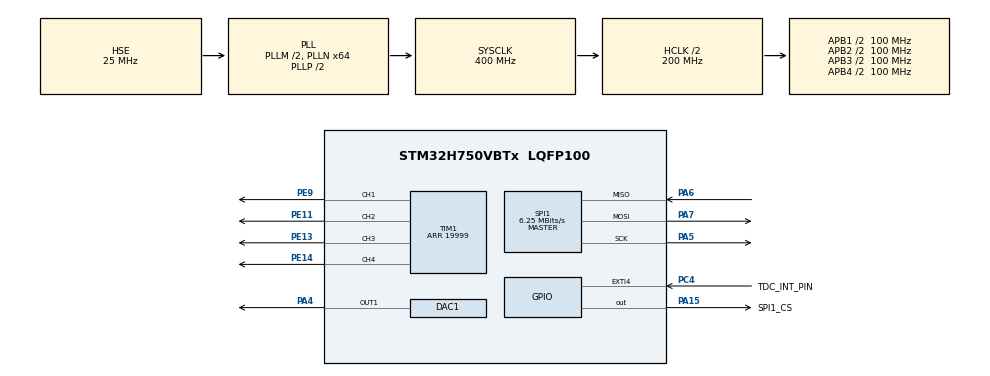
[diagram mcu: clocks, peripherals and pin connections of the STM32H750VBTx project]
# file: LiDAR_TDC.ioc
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DAC1.DAC_Channel-DAC_OUT1=DAC_CHANNEL_1
Mcu.Family=STM32H7
Mcu.Name=STM32H750VBTx
Mcu.Package=LQFP100
NVIC.EXTI4_IRQn=true\:4\:0\:true\:false\:true\:true\:true\:true
NVIC.PriorityGroup=NVIC_PRIORITYGROUP_4
PA13\ (JTMS/SWDIO).Mode=Serial_Wire
PA13\ (JTMS/SWDIO).Signal=DEBUG_JTMS-SWDIO
PA14\ (JTCK/SWCLK).Mode=Serial_Wire
PA14\ (JTCK/SWCLK).Signal=DEBUG_JTCK-SWCLK
PA15\ (JTDI).GPIO_Label=SPI1_CS
PA15\ (JTDI).Signal=GPIO_Output
PA4.Signal=COMP_DAC11_group
PA5.Mode=Full_Duplex_Master
PA5.Signal=SPI1_SCK
PA6.Mode=Full_Duplex_Master
PA6.Signal=SPI1_MISO
PA7.Mode=Full_Duplex_Master
PA7.Signal=SPI1_MOSI
PC4.GPIO_Label=TDC_INT_PIN
PC4.GPIO_ModeDefaultEXTI=GPIO_MODE_IT_FALLING
PC4.GPIO_PuPd=GPIO_PULLUP
PC4.Signal=GPXTI4
PE11.Signal=S_TIM1_CH2
PE13.Signal=S_TIM1_CH3
PE14.Signal=S_TIM1_CH4
PE9.Signal=S_TIM1_CH1
PH0-OSC_IN\ (PH0).Mode=HSE-External-Oscillator
PH0-OSC_IN\ (PH0).Signal=RCC_OSC_IN
PH1-OSC_OUT\ (PH1).Mode=HSE-External-Oscillator
PH1-OSC_OUT\ (PH1).Signal=RCC_OSC_OUT
ProjectManager.HeapSize=0x200
ProjectManager.StackSize=0x400
ProjectManager.TargetToolchain=MDK-ARM V5.32
RCC.ADCFreq_Value=50390625
RCC.APB1Freq_Value=100000000
RCC.APB2Freq_Value=100000000
RCC.APB3Freq_Value=100000000
RCC.APB4Freq_Value=100000000
RCC.CortexFreq_Value=400000000
RCC.D1PPRE=RCC_APB3_DIV2
RCC.D2PPRE1=RCC_APB1_DIV2
RCC.D2PPRE2=RCC_APB2_DIV2
RCC.D3PPRE=RCC_APB4_DIV2
RCC.DIVM1=2
RCC.DIVN1=64
RCC.DIVQ1=4
RCC.HCLKFreq_Value=200000000
RCC.HPRE=RCC_HCLK_DIV2
RCC.PLLFRACN=0
RCC.PLLSourceVirtual=RCC_PLLSOURCE_HSE
RCC.SYSCLKFreq_VALUE=400000000
RCC.SYSCLKSource=RCC_SYSCLKSOURCE_PLLCLK
RCC.USBFreq_Value=200000000
SH.COMP_DAC11_group.0=DAC1_OUT1,DAC_OUT1
SH.S_TIM1_CH1.0=TIM1_CH1,PWM Generation1 CH1
SH.S_TIM1_CH2.0=TIM1_CH2,PWM Generation2 CH2
SH.S_TIM1_CH3.0=TIM1_CH3,PWM Generation3 CH3
SH.S_TIM1_CH4.0=TIM1_CH4,PWM Generation4 CH4
SPI1.BaudRatePrescaler=SPI_BAUDRATEPRESCALER_32
SPI1.CLKPhase=SPI_PHASE_2EDGE
SPI1.CalculateBaudRate=6.25 MBits/s
SPI1.DataSize=SPI_DATASIZE_8BIT
SPI1.Direction=SPI_DIRECTION_2LINES
SPI1.Mode=SPI_MODE_MASTER
SPI1.VirtualType=VM_MASTER
TIM1.Channel-PWM\ Generation1\ CH1=TIM_CHANNEL_1
TIM1.Channel-PWM\ Generation2\ CH2=TIM_CHANNEL_2
TIM1.Channel-PWM\ Generation3\ CH3=TIM_CHANNEL_3
TIM1.Channel-PWM\ Generation4\ CH4=TIM_CHANNEL_4
TIM1.OCPolarity_4=TIM_OCPOLARITY_LOW
TIM1.Period=19999
TIM1.Pulse-PWM\ Generation1\ CH1=10000
TIM1.Pulse-PWM\ Generation2\ CH2=10008
TIM1.Pulse-PWM\ Generation3\ CH3=300
TIM1.Pulse-PWM\ Generation4\ CH4=9990
board=custom

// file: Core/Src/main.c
/* USER CODE BEGIN Header */
/**
  ******************************************************************************
  * @file           : main.c
  * @brief          : Main program body
  ******************************************************************************
  * @attention
  *
  * Copyright (c) 2024 STMicroelectronics.
  * All rights reserved.
  *
  * This software is licensed under terms that can be found in the LICENSE file
  * in the root directory of this software component.
  * If no LICENSE file comes with this software, it is provided AS-IS.
  *
  ******************************************************************************
  */
/* USER CODE END Header */
#include "main.h"
#include "dac.h"
#include "spi.h"
#include "tim.h"
#include "gpio.h"

/* USER CODE BEGIN Includes */
#include "tdc.h"
/* USER CODE END Includes */

void SystemClock_Config(void);

/* USER CODE BEGIN 0 */
uint8_t byte;
uint8_t INTSign = 0 ;
uint8_t  num=0;  //记录中断次数
float  bytes_Up=0.00000f;
uint32_t tempValue;
uint16_t G_tdcStatusRegister = 0;
/* USER CODE END 0 */

int main(void)
{

  /* MCU Configuration--------------------------------------------------------*/

  /* Reset of all peripherals, Initializes the Flash interface and the Systick. */
  HAL_Init();

  /* Configure the system clock */
  SystemClock_Config();

  /* Initialize all configured peripherals */
  MX_GPIO_Init();
  MX_SPI1_Init();
  MX_DAC1_Init();
  MX_TIM1_Init();
  /* USER CODE BEGIN 2 */
	TDC_Init_Reg();
	byte=SPI1_ReadByteFromReg(READ_REG1);//显示寄存器1中的高8位	这个值是0x21的时候，才说明通信成功了成功了

HAL_DAC_Start(&hdac1, DAC_CHANNEL_1);
HAL_DAC_SetValue(&hdac1, DAC_CHANNEL_1, DAC_ALIGN_12B_R, 1.3/3.3*4096);
HAL_Delay(1000);
HAL_TIM_PWM_Start(&htim1, TIM_CHANNEL_1);//LASER_PULSE_ENABLE
HAL_TIM_PWM_Start(&htim1, TIM_CHANNEL_2);//LASER_PULSE
HAL_TIM_PWM_Start(&htim1, TIM_CHANNEL_3);//APD_PWM
HAL_TIM_PWM_Start(&htim1, TIM_CHANNEL_4);//FAKE START信号
  /* USER CODE END 2 */

  /* Infinite loop */
  while (1)
  {

    /* USER CODE BEGIN 3 */
		initMeasureTDCGP22();
		while(INTSign == 0){}
			INTSign = 0;
//		G_tdcStatusRegister=SPI1_Read2ByteFromReg(READ_STAT);		//0xB4
//		if((G_tdcStatusRegister&0x0600) != 0) //0000 0110  0000 0000
//		 {
//	      printf("上游溢出\t\r\n");// 测量溢出
//			 tempValue = 99;//测试语句
//		 }
//		else
//		{
			tempValue = SPI1_ReadWordFromReg(READ_RES0);
			bytes_Up=dotHextoDotDec(tempValue);//bytes_Up 这是一个值
//				printf("bytes_Up(us)= %f \t\r\n\n",bytes_Up);
//		}

  }
  /* USER CODE END 3 */
}

void SystemClock_Config(void)
{
  RCC_OscInitTypeDef RCC_OscInitStruct = {0};
  RCC_ClkInitTypeDef RCC_ClkInitStruct = {0};

  /** Supply configuration update enable
  */
  HAL_PWREx_ConfigSupply(PWR_LDO_SUPPLY);

  /** Configure the main internal regulator output voltage
  */
  __HAL_PWR_VOLTAGESCALING_CONFIG(PWR_REGULATOR_VOLTAGE_SCALE1);

  while(!__HAL_PWR_GET_FLAG(PWR_FLAG_VOSRDY)) {}

  /** Initializes the RCC Oscillators according to the specified parameters
  * in the RCC_OscInitTypeDef structure.
  */
  RCC_OscInitStruct.OscillatorType = RCC_OSCILLATORTYPE_HSE;
  RCC_OscInitStruct.HSEState = RCC_HSE_ON;
  RCC_OscInitStruct.PLL.PLLState = RCC_PLL_ON;
  RCC_OscInitStruct.PLL.PLLSource = RCC_PLLSOURCE_HSE;
  RCC_OscInitStruct.PLL.PLLM = 2;
  RCC_OscInitStruct.PLL.PLLN = 64;
  RCC_OscInitStruct.PLL.PLLP = 2;
  RCC_OscInitStruct.PLL.PLLQ = 4;
  RCC_OscInitStruct.PLL.PLLR = 2;
  RCC_OscInitStruct.PLL.PLLRGE = RCC_PLL1VCIRANGE_3;
  RCC_OscInitStruct.PLL.PLLVCOSEL = RCC_PLL1VCOWIDE;
  RCC_OscInitStruct.PLL.PLLFRACN = 0;
  if (HAL_RCC_OscConfig(&RCC_OscInitStruct) != HAL_OK)
  {
    Error_Handler();
  }

  /** Initializes the CPU, AHB and APB buses clocks
  */
  RCC_ClkInitStruct.ClockType = RCC_CLOCKTYPE_HCLK|RCC_CLOCKTYPE_SYSCLK
                              |RCC_CLOCKTYPE_PCLK1|RCC_CLOCKTYPE_PCLK2
                              |RCC_CLOCKTYPE_D3PCLK1|RCC_CLOCKTYPE_D1PCLK1;
  RCC_ClkInitStruct.SYSCLKSource = RCC_SYSCLKSOURCE_PLLCLK;
  RCC_ClkInitStruct.SYSCLKDivider = RCC_SYSCLK_DIV1;
  RCC_ClkInitStruct.AHBCLKDivider = RCC_HCLK_DIV2;
  RCC_ClkInitStruct.APB3CLKDivider = RCC_APB3_DIV2;
  RCC_ClkInitStruct.APB1CLKDivider = RCC_APB1_DIV2;
  RCC_ClkInitStruct.APB2CLKDivider = RCC_APB2_DIV2;
  RCC_ClkInitStruct.APB4CLKDivider = RCC_APB4_DIV2;

  if (HAL_RCC_ClockConfig(&RCC_ClkInitStruct, FLASH_LATENCY_2) != HAL_OK)
  {
    Error_Handler();
  }
}

/* USER CODE BEGIN 4 */
/**
 * 外部引脚中断
 * */

void HAL_GPIO_EXTI_Callback(uint16_t GPIO_Pin)
{
    if(GPIO_Pin == TDC_INT_PIN_Pin)
    {
			INTSign =  1 ;
			num++;
		}
}
/* USER CODE END 4 */

void Error_Handler(void)
{
  __disable_irq();
  while (1)
  {
  }
}
